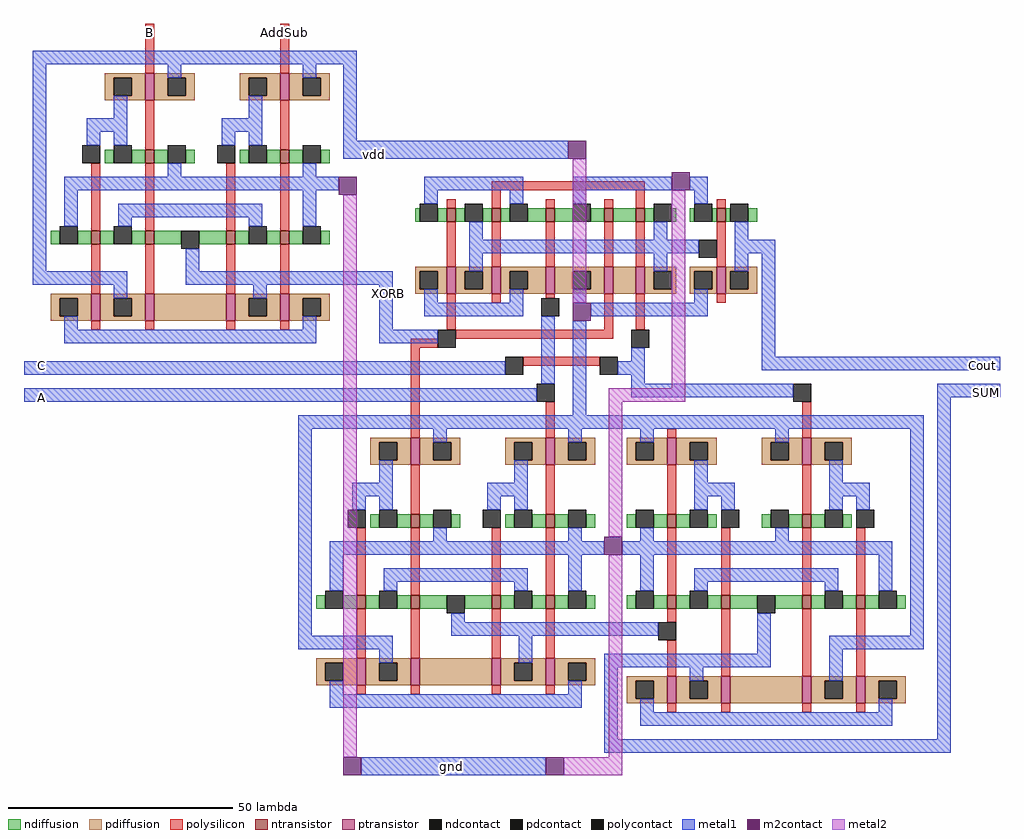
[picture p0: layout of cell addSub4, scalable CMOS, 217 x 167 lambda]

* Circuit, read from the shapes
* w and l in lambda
.subckt addSub4 A AddSub B C Cout SUM XORB gnd vdd
M1 n1 n2 gnd VSUBS nfet w=3 l=2
M2 XORB B n1 VSUBS nfet w=3 l=2
M3 gnd B n2 VSUBS nfet w=3 l=2
M4 n1 n3 XORB VSUBS nfet w=3 l=2
M5 gnd AddSub n1 VSUBS nfet w=3 l=2
M6 gnd AddSub n3 VSUBS nfet w=3 l=2
M7 n4 n5 gnd VSUBS nfet w=3 l=2
M8 n6 XORB n4 VSUBS nfet w=3 l=2
M9 gnd XORB n5 VSUBS nfet w=3 l=2
M10 n7 XORB n8 VSUBS nfet w=3 l=2
M11 n4 n9 n6 VSUBS nfet w=3 l=2
M12 n8 C n7 VSUBS nfet w=3 l=2
M13 gnd A n4 VSUBS nfet w=3 l=2
M14 gnd A n9 VSUBS nfet w=3 l=2
M15 gnd A n8 VSUBS nfet w=3 l=2
M16 n10 XORB gnd VSUBS nfet w=3 l=2
M17 n7 C n10 VSUBS nfet w=3 l=2
M18 n11 n6 gnd VSUBS nfet w=3 l=2
M19 n12 n6 gnd VSUBS nfet w=3 l=2
M20 Cout n7 gnd VSUBS nfet w=3 l=2
M21 SUM n12 n11 VSUBS nfet w=3 l=2
M22 n11 C SUM VSUBS nfet w=3 l=2
M23 n13 C gnd VSUBS nfet w=3 l=2
M24 gnd n13 n11 VSUBS nfet w=3 l=2
M25 vdd n2 n14 NWELL pfet w=6 l=2
M26 n15 B vdd NWELL pfet w=6 l=2
M27 vdd B n2 NWELL pfet w=6 l=2
M28 XORB n3 n15 NWELL pfet w=6 l=2
M29 n14 AddSub XORB NWELL pfet w=6 l=2
M30 vdd AddSub n3 NWELL pfet w=6 l=2
M31 vdd n5 n16 NWELL pfet w=6 l=2
M32 n17 XORB vdd NWELL pfet w=6 l=2
M33 vdd XORB n5 NWELL pfet w=6 l=2
M34 n7 XORB n18 NWELL pfet w=6 l=2
M35 n6 n9 n17 NWELL pfet w=6 l=2
M36 n18 C n7 NWELL pfet w=6 l=2
M37 n16 A n6 NWELL pfet w=6 l=2
M38 vdd A n9 NWELL pfet w=6 l=2
M39 vdd A n18 NWELL pfet w=6 l=2
M40 n19 XORB vdd NWELL pfet w=6 l=2
M41 n7 C n19 NWELL pfet w=6 l=2
M42 SUM n6 n20 NWELL pfet w=6 l=2
M43 n12 n6 vdd NWELL pfet w=6 l=2
M44 Cout n7 vdd NWELL pfet w=6 l=2
M45 n21 n12 SUM NWELL pfet w=6 l=2
M46 vdd C n21 NWELL pfet w=6 l=2
M47 n13 C vdd NWELL pfet w=6 l=2
M48 n20 n13 vdd NWELL pfet w=6 l=2
.ends

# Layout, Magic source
magic
tech scmos
<< polysilicon >>
rect 27 156 29 167
rect 57 156 59 167
rect 27 139 29 150
rect 57 139 59 150
rect 15 121 17 136
rect 27 121 29 136
rect 45 121 47 136
rect 15 107 17 118
rect 27 107 29 118
rect 57 121 59 136
rect 104 130 138 132
rect 94 126 96 128
rect 104 126 106 130
rect 116 126 118 128
rect 129 126 131 128
rect 136 126 138 130
rect 154 126 156 128
rect 45 107 47 118
rect 57 107 59 118
rect 94 113 96 123
rect 104 113 106 123
rect 116 113 118 123
rect 129 113 131 123
rect 136 113 138 123
rect 154 113 156 123
rect 15 99 17 101
rect 27 99 29 101
rect 45 99 47 101
rect 57 99 59 101
rect 94 99 96 107
rect 104 105 106 107
rect 116 106 118 107
rect 129 99 131 107
rect 136 99 138 107
rect 154 105 156 107
rect 86 95 92 97
rect 96 97 131 99
rect 86 75 88 95
rect 111 91 128 93
rect 116 75 118 83
rect 143 75 145 77
rect 173 75 175 83
rect 86 58 88 69
rect 116 58 118 69
rect 143 58 145 69
rect 173 58 175 69
rect 74 40 76 55
rect 86 40 88 55
rect 104 40 106 55
rect 74 26 76 37
rect 86 26 88 37
rect 116 40 118 55
rect 143 40 145 55
rect 155 40 157 55
rect 173 40 175 55
rect 104 26 106 37
rect 116 26 118 37
rect 143 34 145 37
rect 143 22 145 30
rect 155 22 157 37
rect 185 40 187 55
rect 173 22 175 37
rect 185 22 187 37
rect 74 18 76 20
rect 86 18 88 20
rect 104 18 106 20
rect 116 18 118 20
rect 143 14 145 16
rect 155 14 157 16
rect 173 14 175 16
rect 185 14 187 16
<< ndiffusion >>
rect 18 136 20 139
rect 24 136 27 139
rect 29 136 32 139
rect 36 136 38 139
rect 48 136 50 139
rect 54 136 57 139
rect 59 136 62 139
rect 66 136 68 139
rect 6 118 8 121
rect 12 118 15 121
rect 17 118 20 121
rect 24 118 27 121
rect 29 118 35 121
rect 39 118 45 121
rect 47 118 50 121
rect 87 123 88 126
rect 92 123 94 126
rect 96 123 98 126
rect 102 123 104 126
rect 106 123 108 126
rect 112 123 116 126
rect 118 123 122 126
rect 126 123 129 126
rect 131 123 136 126
rect 138 123 140 126
rect 144 123 145 126
rect 148 123 149 126
rect 153 123 154 126
rect 156 123 157 126
rect 161 123 163 126
rect 54 118 57 121
rect 59 118 62 121
rect 66 118 68 121
rect 77 55 79 58
rect 83 55 86 58
rect 88 55 91 58
rect 95 55 97 58
rect 107 55 109 58
rect 113 55 116 58
rect 118 55 121 58
rect 125 55 127 58
rect 134 55 136 58
rect 140 55 143 58
rect 145 55 148 58
rect 152 55 154 58
rect 164 55 166 58
rect 170 55 173 58
rect 175 55 178 58
rect 182 55 184 58
rect 65 37 67 40
rect 71 37 74 40
rect 76 37 79 40
rect 83 37 86 40
rect 88 37 94 40
rect 98 37 104 40
rect 106 37 109 40
rect 113 37 116 40
rect 118 37 121 40
rect 125 37 127 40
rect 134 37 136 40
rect 140 37 143 40
rect 145 37 148 40
rect 152 37 155 40
rect 157 37 163 40
rect 167 37 173 40
rect 175 37 178 40
rect 182 37 185 40
rect 187 37 190 40
rect 194 37 196 40
<< pdiffusion >>
rect 18 155 27 156
rect 18 151 20 155
rect 24 151 27 155
rect 18 150 27 151
rect 29 155 38 156
rect 29 151 32 155
rect 36 151 38 155
rect 29 150 38 151
rect 48 155 57 156
rect 48 151 50 155
rect 54 151 57 155
rect 48 150 57 151
rect 59 155 68 156
rect 59 151 62 155
rect 66 151 68 155
rect 59 150 68 151
rect 87 112 94 113
rect 87 108 88 112
rect 92 108 94 112
rect 87 107 94 108
rect 96 112 104 113
rect 96 108 98 112
rect 102 108 104 112
rect 96 107 104 108
rect 106 112 116 113
rect 106 108 108 112
rect 112 108 116 112
rect 106 107 116 108
rect 118 112 129 113
rect 118 108 122 112
rect 126 108 129 112
rect 118 107 129 108
rect 131 107 136 113
rect 138 112 145 113
rect 138 108 140 112
rect 144 108 145 112
rect 138 107 145 108
rect 148 112 154 113
rect 148 108 149 112
rect 153 108 154 112
rect 148 107 154 108
rect 156 112 163 113
rect 156 108 157 112
rect 161 108 163 112
rect 156 107 163 108
rect 6 106 15 107
rect 6 102 8 106
rect 12 102 15 106
rect 6 101 15 102
rect 17 106 27 107
rect 17 102 20 106
rect 24 102 27 106
rect 17 101 27 102
rect 29 101 45 107
rect 47 106 57 107
rect 47 102 50 106
rect 54 102 57 106
rect 47 101 57 102
rect 59 106 68 107
rect 59 102 62 106
rect 66 102 68 106
rect 59 101 68 102
rect 77 74 86 75
rect 77 70 79 74
rect 83 70 86 74
rect 77 69 86 70
rect 88 74 97 75
rect 88 70 91 74
rect 95 70 97 74
rect 88 69 97 70
rect 107 74 116 75
rect 107 70 109 74
rect 113 70 116 74
rect 107 69 116 70
rect 118 74 127 75
rect 118 70 121 74
rect 125 70 127 74
rect 118 69 127 70
rect 134 74 143 75
rect 134 70 136 74
rect 140 70 143 74
rect 134 69 143 70
rect 145 74 154 75
rect 145 70 148 74
rect 152 70 154 74
rect 145 69 154 70
rect 164 74 173 75
rect 164 70 166 74
rect 170 70 173 74
rect 164 69 173 70
rect 175 74 184 75
rect 175 70 178 74
rect 182 70 184 74
rect 175 69 184 70
rect 65 25 74 26
rect 65 21 67 25
rect 71 21 74 25
rect 65 20 74 21
rect 76 25 86 26
rect 76 21 79 25
rect 83 21 86 25
rect 76 20 86 21
rect 88 20 104 26
rect 106 25 116 26
rect 106 21 109 25
rect 113 21 116 25
rect 106 20 116 21
rect 118 25 127 26
rect 118 21 121 25
rect 125 21 127 25
rect 118 20 127 21
rect 134 21 143 22
rect 134 17 136 21
rect 140 17 143 21
rect 134 16 143 17
rect 145 21 155 22
rect 145 17 148 21
rect 152 17 155 21
rect 145 16 155 17
rect 157 16 173 22
rect 175 21 185 22
rect 175 17 178 21
rect 182 17 185 21
rect 175 16 185 17
rect 187 21 196 22
rect 187 17 190 21
rect 194 17 196 21
rect 187 16 196 17
<< metal1 >>
rect 2 158 74 161
rect 2 112 5 158
rect 32 155 35 158
rect 62 155 65 158
rect 20 146 23 151
rect 50 146 53 151
rect 14 143 23 146
rect 14 140 17 143
rect 20 140 23 143
rect 44 143 53 146
rect 44 140 47 143
rect 50 140 53 143
rect 71 141 74 158
rect 71 137 121 141
rect 32 133 35 136
rect 62 133 65 136
rect 9 130 70 133
rect 9 122 12 130
rect 21 124 53 127
rect 21 122 24 124
rect 50 122 53 124
rect 62 122 65 130
rect 89 130 111 133
rect 89 127 92 130
rect 108 127 111 130
rect 122 130 144 133
rect 148 130 152 133
rect 122 127 125 130
rect 149 127 152 130
rect 99 119 102 123
rect 140 119 143 123
rect 158 119 161 123
rect 36 112 39 117
rect 99 116 150 119
rect 99 112 102 116
rect 140 112 143 116
rect 158 116 167 119
rect 158 112 161 116
rect 2 109 23 112
rect 36 109 82 112
rect 20 106 23 109
rect 51 106 54 109
rect 9 99 12 102
rect 62 99 65 102
rect 9 96 65 99
rect 79 99 82 109
rect 89 105 92 108
rect 108 105 111 108
rect 89 102 111 105
rect 122 105 125 108
rect 149 105 152 108
rect 79 96 92 99
rect 0 89 107 92
rect 115 87 118 102
rect 0 83 114 86
rect 126 102 152 105
rect 122 80 125 101
rect 135 92 138 95
rect 132 89 138 92
rect 164 93 167 116
rect 164 90 217 93
rect 135 87 138 89
rect 135 84 171 87
rect 203 84 217 87
rect 61 77 200 80
rect 61 31 64 77
rect 91 74 94 77
rect 121 74 124 77
rect 137 74 140 77
rect 167 74 170 77
rect 79 65 82 70
rect 109 65 112 70
rect 73 62 82 65
rect 73 59 76 62
rect 79 59 82 62
rect 103 62 112 65
rect 103 59 106 62
rect 109 59 112 62
rect 149 65 152 70
rect 179 65 182 70
rect 149 62 158 65
rect 149 59 152 62
rect 155 59 158 62
rect 179 62 188 65
rect 179 59 182 62
rect 185 59 188 62
rect 91 52 94 55
rect 121 52 124 55
rect 68 49 129 52
rect 137 52 140 55
rect 167 52 170 55
rect 133 49 193 52
rect 68 41 71 49
rect 80 43 112 46
rect 80 41 83 43
rect 109 41 112 43
rect 121 41 124 49
rect 137 41 140 49
rect 149 43 181 46
rect 149 41 152 43
rect 178 41 181 43
rect 190 41 193 49
rect 95 34 98 36
rect 95 31 141 34
rect 61 28 82 31
rect 79 25 82 28
rect 110 25 113 31
rect 163 27 166 36
rect 197 31 200 77
rect 129 24 166 27
rect 179 28 200 31
rect 68 18 71 21
rect 121 18 124 21
rect 68 15 124 18
rect 129 8 132 24
rect 148 21 151 24
rect 179 21 182 28
rect 137 14 140 17
rect 190 14 193 17
rect 137 11 193 14
rect 203 8 206 84
rect 129 5 206 8
rect 75 0 116 4
<< metal2 >>
rect 71 4 74 129
rect 122 105 125 137
rect 144 86 147 130
rect 130 83 147 86
rect 130 53 133 83
rect 130 4 133 49
rect 120 0 133 4
<< ntransistor >>
rect 27 136 29 139
rect 57 136 59 139
rect 15 118 17 121
rect 27 118 29 121
rect 45 118 47 121
rect 94 123 96 126
rect 104 123 106 126
rect 116 123 118 126
rect 129 123 131 126
rect 136 123 138 126
rect 154 123 156 126
rect 57 118 59 121
rect 86 55 88 58
rect 116 55 118 58
rect 143 55 145 58
rect 173 55 175 58
rect 74 37 76 40
rect 86 37 88 40
rect 104 37 106 40
rect 116 37 118 40
rect 143 37 145 40
rect 155 37 157 40
rect 173 37 175 40
rect 185 37 187 40
<< ptransistor >>
rect 27 150 29 156
rect 57 150 59 156
rect 94 107 96 113
rect 104 107 106 113
rect 116 107 118 113
rect 129 107 131 113
rect 136 107 138 113
rect 154 107 156 113
rect 15 101 17 107
rect 27 101 29 107
rect 45 101 47 107
rect 57 101 59 107
rect 86 69 88 75
rect 116 69 118 75
rect 143 69 145 75
rect 173 69 175 75
rect 74 20 76 26
rect 86 20 88 26
rect 104 20 106 26
rect 116 20 118 26
rect 143 16 145 22
rect 155 16 157 22
rect 173 16 175 22
rect 185 16 187 22
<< polycontact >>
rect 13 136 17 140
rect 43 136 47 140
rect 150 115 154 119
rect 115 102 119 106
rect 92 95 96 99
rect 135 95 139 99
rect 107 89 111 93
rect 128 89 132 93
rect 114 83 118 87
rect 171 83 175 87
rect 72 55 76 59
rect 102 55 106 59
rect 155 55 159 59
rect 185 55 189 59
rect 141 30 145 34
<< ndcontact >>
rect 20 136 24 140
rect 32 136 36 140
rect 50 136 54 140
rect 62 136 66 140
rect 8 118 12 122
rect 20 118 24 122
rect 35 117 39 121
rect 50 118 54 122
rect 88 123 92 127
rect 98 123 102 127
rect 108 123 112 127
rect 122 123 126 127
rect 140 123 144 127
rect 149 123 153 127
rect 157 123 161 127
rect 62 118 66 122
rect 79 55 83 59
rect 91 55 95 59
rect 109 55 113 59
rect 121 55 125 59
rect 136 55 140 59
rect 148 55 152 59
rect 166 55 170 59
rect 178 55 182 59
rect 67 37 71 41
rect 79 37 83 41
rect 94 36 98 40
rect 109 37 113 41
rect 121 37 125 41
rect 136 37 140 41
rect 148 37 152 41
rect 163 36 167 40
rect 178 37 182 41
rect 190 37 194 41
<< pdcontact >>
rect 20 151 24 155
rect 32 151 36 155
rect 50 151 54 155
rect 62 151 66 155
rect 88 108 92 112
rect 98 108 102 112
rect 108 108 112 112
rect 122 108 126 112
rect 140 108 144 112
rect 149 108 153 112
rect 157 108 161 112
rect 8 102 12 106
rect 20 102 24 106
rect 50 102 54 106
rect 62 102 66 106
rect 79 70 83 74
rect 91 70 95 74
rect 109 70 113 74
rect 121 70 125 74
rect 136 70 140 74
rect 148 70 152 74
rect 166 70 170 74
rect 178 70 182 74
rect 67 21 71 25
rect 79 21 83 25
rect 109 21 113 25
rect 121 21 125 25
rect 136 17 140 21
rect 148 17 152 21
rect 178 17 182 21
rect 190 17 194 21
<< m2contact >>
rect 121 137 125 141
rect 70 129 74 133
rect 144 130 148 134
rect 122 101 126 105
rect 129 49 133 53
rect 71 0 75 4
rect 116 0 120 4
<< labels >>
rlabel metal1 213 91 213 91 7 Cout
rlabel metal1 214 85 214 85 7 SUM
rlabel metal1 95 2 95 2 1 gnd
rlabel metal1 81 107 81 107 1 XORB
rlabel metal1 78 138 78 138 1 vdd
rlabel metal1 4 84 4 84 3 A
rlabel metal1 4 91 4 91 3 C
rlabel polysilicon 28 165 28 165 5 B
rlabel polysilicon 58 165 58 165 5 AddSub
<< end >>
